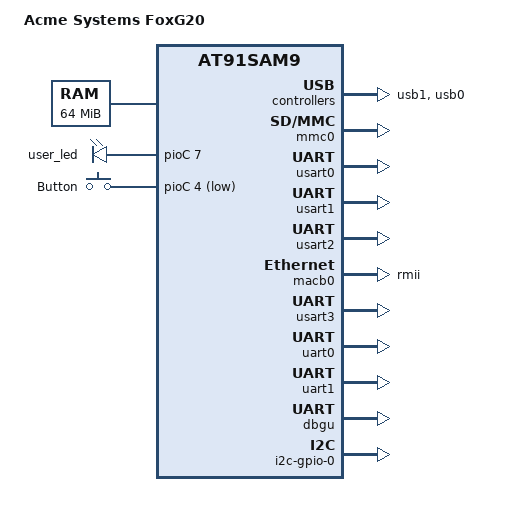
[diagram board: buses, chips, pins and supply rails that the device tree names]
// SPDX-License-Identifier: GPL-2.0-or-later
/*
 * at91-foxg20.dts - Device Tree file for Acme Systems FoxG20 board
 *
 * Based on DT files for at91sam9g20ek evaluation board (AT91SAM9G20 SoC)
 *
 * Copyright (C) 2013 Douglas Gilbert <dgilbert@interlog.com>
 */
/dts-v1/;
#include "at91sam9g20.dtsi"

/ {
	model = "Acme Systems FoxG20";
	compatible = "acme,foxg20", "atmel,at91sam9g20", "atmel,at91sam9";

	chosen {
		bootargs = "console=ttyS0,115200 root=/dev/mmcblk0p2 rw rootwait";
	};

	memory@20000000 {
		reg = <0x20000000 0x4000000>;
	};

	clocks {
		slow_xtal {
			clock-frequency = <32768>;
		};

		main_xtal {
			clock-frequency = <18432000>;
		};
	};

	ahb {
		apb {
			tcb0: timer@fffa0000 {
				timer@0 {
					compatible = "atmel,tcb-timer";
					reg = <0>, <1>;
				};

				timer@2 {
					compatible = "atmel,tcb-timer";
					reg = <2>;
				};
			};

			usb1: gadget@fffa4000 {
				atmel,vbus-gpio = <&pioC 6 GPIO_ACTIVE_HIGH>;
				status = "okay";
			};

			mmc0: mmc@fffa8000 {
				pinctrl-0 = <
					&pinctrl_mmc0_clk
					&pinctrl_mmc0_slot1_cmd_dat0
					&pinctrl_mmc0_slot1_dat1_3>;
				pinctrl-names = "default";
				status = "okay";

				slot@1 {
					reg = <1>;
					bus-width = <4>;
				};
			};

			usart0: serial@fffb0000 {
				pinctrl-0 =
					<&pinctrl_usart0
					 &pinctrl_usart0_rts
					 &pinctrl_usart0_cts
					>;
				status = "okay";
			};

			usart1: serial@fffb4000 {
				status = "okay";
			};

			usart2: serial@fffb8000 {
				status = "okay";
			};

			macb0: ethernet@fffc4000 {
				phy-mode = "rmii";
				status = "okay";
			};

			usart3: serial@fffd0000 {
				status = "okay";
			};

			uart0: serial@fffd4000 {
				status = "okay";
			};

			uart1: serial@fffd8000 {
				status = "okay";
			};

			dbgu: serial@fffff200 {
				status = "okay";
			};

			pinctrl@fffff400 {
				board {
					pinctrl_pck0_as_mck: pck0_as_mck {
						atmel,pins =
							<AT91_PIOC 1 AT91_PERIPH_B AT91_PINCTRL_NONE>;
					};
				};

				mmc0_slot1 {
					pinctrl_board_mmc0_slot1: mmc0_slot1-board {
						atmel,pins =
							<AT91_PIOC 9 AT91_PERIPH_GPIO AT91_PINCTRL_PULL_UP_DEGLITCH>;	/* CD pin */
					};
				};

				i2c0 {
					pinctrl_i2c0: i2c0-0 {
						atmel,pins =
							<AT91_PIOA 23 AT91_PERIPH_A AT91_PINCTRL_MULTI_DRIVE	/* TWD (SDA), open drain */
							 AT91_PIOA 24 AT91_PERIPH_A AT91_PINCTRL_MULTI_DRIVE>;	/* TWCK (SCL), open drain */
					};
				};
			};

			watchdog@fffffd40 {
				status = "okay";
			};
		};

		usb0: ohci@500000 {
			num-ports = <2>;
			status = "okay";
		};
	};

	i2c-gpio-0 {
		pinctrl-names = "default";
		pinctrl-0 = <&pinctrl_i2c0>;
		i2c-gpio,delay-us = <5>;	/* ~85 kHz */
		status = "okay";
	};

	leds {
		compatible = "gpio-leds";

		/* red LED marked "PC7" near mini USB (device) receptacle */
		user_led {
			label = "user_led";
			gpios = <&pioC 7 GPIO_ACTIVE_HIGH>;	/* PC7 */
			linux,default-trigger = "heartbeat";
		};
	};

	gpio_keys {
		compatible = "gpio-keys";

		btn {
			label = "Button";
			gpios = <&pioC 4 GPIO_ACTIVE_LOW>;
			linux,code = <0x103>;
			wakeup-source;
		};
	};
};
